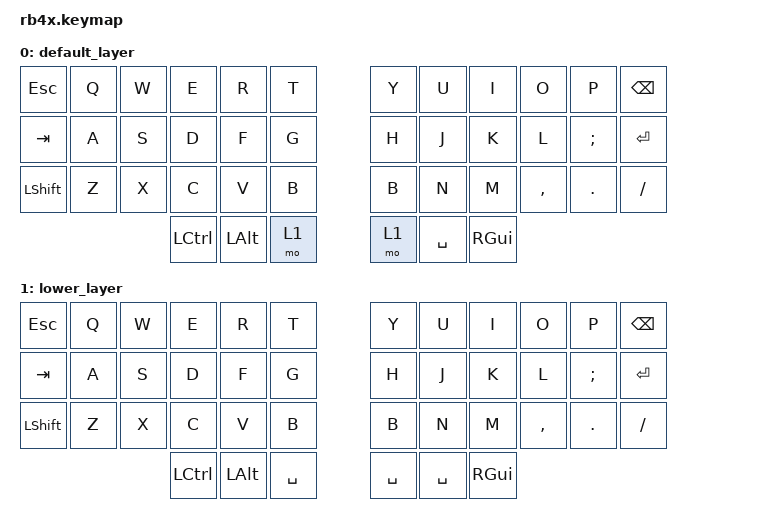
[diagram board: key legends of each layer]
/*
 * Copyright (c) 2021 The ZMK Contributors
 *
 * SPDX-License-Identifier: MIT
 */

#include <behaviors.dtsi>
#include <dt-bindings/zmk/keys.h>
#include <dt-bindings/zmk/bt.h>

/ {

    keymap {
        compatible = "zmk,keymap";

        default_layer {
            bindings = <
                &kp ESC      &kp Q    &kp W    &kp E     &kp R    &kp T           &kp Y       &kp U    &kp I    &kp O     &kp P    &kp BSPC       
                &kp TAB      &kp A    &kp S    &kp D     &kp F    &kp G           &kp H       &kp J    &kp K    &kp L     &kp SEMI &kp RET
                &kp LSHFT    &kp Z    &kp X    &kp C     &kp V    &kp B           &kp B       &kp N    &kp M    &kp COMMA &kp DOT  &kp FSLH
                                               &kp LCTRL &kp LALT &mo 1           &mo 1       &kp SPC  &kp RGUI
            >;
        };

        lower_layer {
            bindings = <
                &kp ESC      &kp Q    &kp W    &kp E     &kp R    &kp T           &kp Y       &kp U    &kp I    &kp O     &kp P    &kp BSPC       
                &kp TAB      &kp A    &kp S    &kp D     &kp F    &kp G           &kp H       &kp J    &kp K    &kp L     &kp SEMI &kp RET
                &kp LSHFT    &kp Z    &kp X    &kp C     &kp V    &kp B           &kp B       &kp N    &kp M    &kp COMMA &kp DOT  &kp FSLH
                                               &kp LCTRL &kp LALT &kp SPC         &kp SPC     &kp SPC  &kp RGUI
            >;
        };
    };
};

//   &kp ESC   &kp Q &kp W &kp E &kp R &kp T   &kp Y &kp U  &kp I     &kp O     &kp P    &kp BSPC
//   &kp TAB   &kp A &kp S &kp D &kp F &kp G   &kp H &kp J  &kp K     &kp L     &kp SEMI &kp RET
//   &kp LSHFT &kp Z &kp X &kp C &kp V &kp B   &kp B &kp N  &kp M     &kp COMMA &kp DOT  &kp FSLH
//                        &kp LCTRL  &mo 1 &kp SPACE &mo 2  &kp RALT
